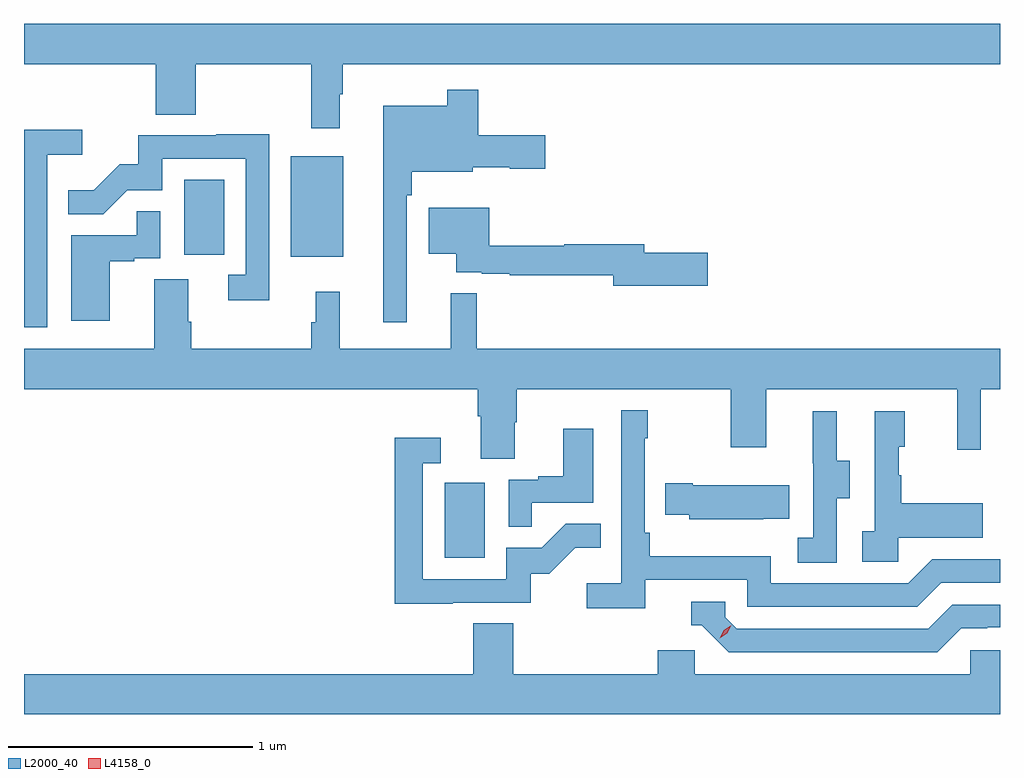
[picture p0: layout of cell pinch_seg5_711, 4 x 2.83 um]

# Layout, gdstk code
import gdstk
lib = gdstk.Library(unit=1e-6, precision=1e-09)
def R(c, l, rs):  # rectangles x0, y0, x1, y1
    for r in rs: c.add(gdstk.rectangle(r[:2], r[2:], *l))
def P(c, l, *ps):  # polygons
    for p in ps: c.add(gdstk.Polygon(p, *l))
L2000_40 = (2000, 40)
L4158_0 = (4158, 0)

pinch_seg5_711 = lib.new_cell('pinch_seg5_711')
R(pinch_seg5_711, L2000_40, [(1083.734,848.076,1083.898,848.383), (1083.104,849.311,1083.319,849.721), (1082.666,849.318,1082.83,849.625)])
P(pinch_seg5_711, L2000_40, [(1083.304,849.977),(1083.316,849.977),(1083.316,850.1),(1086.01,850.1),(1086.01,850.264),(1082.01,850.264),(1082.01,850.1),(1082.549,850.1),(1082.549,849.892),(1082.714,849.892),(1082.714,850.1),(1083.187,850.1),(1083.187,849.837),(1083.304,849.837)],
  [(1083.579,849.563),(1083.599,849.563),(1083.599,849.659),(1083.849,849.659),(1083.849,849.677),(1084,849.677),(1084,849.67),(1084.147,849.67),(1084.147,849.807),(1083.872,849.807),(1083.872,849.994),(1083.744,849.994),(1083.744,849.928),(1083.482,849.928),(1083.482,849.042),(1083.579,849.042)],
  [(1082.106,849.728),(1082.248,849.728),(1082.248,849.83),(1082.01,849.83),(1082.01,849.021),(1082.106,849.021)],
  [(1083.015,849.812),(1082.797,849.812),(1082.797,849.807),(1082.479,849.807),(1082.479,849.69),(1082.402,849.69),(1082.295,849.583),(1082.191,849.583),(1082.191,849.484),(1082.335,849.484),(1082.433,849.582),(1082.577,849.582),(1082.577,849.711),(1082.919,849.711),(1082.919,849.237),(1082.847,849.237),(1082.847,849.132),(1083.015,849.132)],
  [(1084.813,849.326),(1084.552,849.326),(1084.552,849.362),(1084.224,849.362),(1084.224,849.355),(1083.917,849.355),(1083.917,849.511),(1083.668,849.511),(1083.668,849.323),(1083.782,849.323),(1083.782,849.246),(1083.886,849.246),(1083.886,849.24),(1084,849.24),(1084,849.234),(1084.424,849.234),(1084.424,849.191),(1084.813,849.191)],
  [(1082.362,849.291),(1082.462,849.291),(1082.462,849.303),(1082.568,849.303),(1082.568,849.497),(1082.473,849.497),(1082.473,849.399),(1082.204,849.399),(1082.204,849.048),(1082.362,849.048)],
  [(1084.021,848.631),(1084.029,848.631),(1084.029,848.768),(1084.906,848.768),(1084.906,848.529),(1085.053,848.529),(1085.053,848.768),(1085.834,848.768),(1085.834,848.52),(1085.931,848.52),(1085.931,848.768),(1086.01,848.768),(1086.01,848.932),(1083.866,848.932),(1083.866,849.161),(1083.758,849.161),(1083.758,848.932),(1083.305,848.932),(1083.305,849.166),(1083.206,849.166),(1083.206,849.041),(1083.187,849.041),(1083.187,848.932),(1082.696,848.932),(1082.696,849.044),(1082.683,849.044),(1082.683,849.218),(1082.543,849.218),(1082.543,848.932),(1082.01,848.932),(1082.01,848.768),(1083.869,848.768),(1083.869,848.656),(1083.881,848.656),(1083.881,848.482),(1084.021,848.482)],
  [(1084.556,847.986),(1084.974,847.986),(1084.974,847.875),(1085.671,847.875),(1085.77,847.974),(1086.01,847.974),(1086.01,848.07),(1085.733,848.07),(1085.634,847.971),(1085.07,847.971),(1085.07,848.083),(1084.574,848.083),(1084.574,848.179),(1084.554,848.179),(1084.554,848.567),(1084.567,848.567),(1084.567,848.68),(1084.458,848.68),(1084.458,847.972),(1084.317,847.972),(1084.317,847.87),(1084.556,847.87)],
  [(1085.592,848.159),(1085.939,848.159),(1085.939,848.299),(1085.605,848.299),(1085.605,848.414),(1085.595,848.414),(1085.595,848.532),(1085.62,848.532),(1085.62,848.677),(1085.496,848.677),(1085.496,848.186),(1085.445,848.186),(1085.445,848.061),(1085.592,848.061)],
  [(1085.34,848.32),(1085.395,848.32),(1085.395,848.475),(1085.341,848.475),(1085.341,848.677),(1085.243,848.677),(1085.243,848.463),(1085.244,848.463),(1085.244,848.159),(1085.181,848.159),(1085.181,848.056),(1085.34,848.056)],
  [(1084.091,848.301),(1084.342,848.301),(1084.342,848.605),(1084.22,848.605),(1084.22,848.41),(1084.117,848.41),(1084.117,848.397),(1083.996,848.397),(1083.996,848.203),(1084.091,848.203)],
  [(1083.767,847.893),(1084.086,847.893),(1084.086,848.01),(1084.162,848.01),(1084.269,848.117),(1084.373,848.117),(1084.373,848.216),(1084.23,848.216),(1084.132,848.118),(1083.987,848.118),(1083.987,847.989),(1083.645,847.989),(1083.645,848.463),(1083.718,848.463),(1083.718,848.569),(1083.529,848.569),(1083.529,847.888),(1083.767,847.888)],
  [(1085.039,848.237),(1085.147,848.237),(1085.147,848.374),(1084.75,848.374),(1084.75,848.382),(1084.639,848.382),(1084.639,848.252),(1084.737,848.252),(1084.737,848.234),(1085.039,848.234)],
  [(1085.851,847.788),(1085.958,847.788),(1085.958,847.791),(1086.01,847.791),(1086.01,847.884),(1085.814,847.884),(1085.715,847.785),(1084.932,847.785),(1084.884,847.833),(1084.884,847.896),(1084.745,847.896),(1084.745,847.8),(1084.788,847.8),(1084.899,847.689),(1085.752,847.689)],
  [(1086.01,847.698),(1085.889,847.698),(1085.889,847.6),(1084.758,847.6),(1084.758,847.698),(1084.607,847.698),(1084.607,847.6),(1084.016,847.6),(1084.016,847.808),(1083.851,847.808),(1083.851,847.6),(1082.01,847.6),(1082.01,847.436),(1086.01,847.436)])
P(pinch_seg5_711, L4158_0, [(1084.861,847.746),(1084.861,847.747),(1084.877,847.779),(1084.908,847.799),(1084.908,847.799),(1084.908,847.799),(1084.892,847.766),(1084.862,847.746)])

lib.write_gds('pinch_seg5_711.gds')
